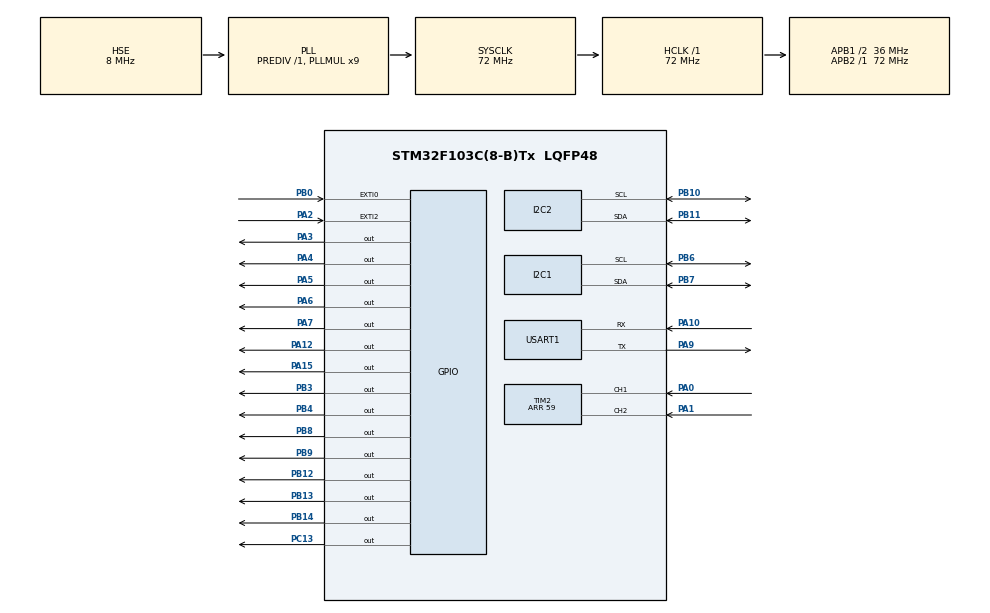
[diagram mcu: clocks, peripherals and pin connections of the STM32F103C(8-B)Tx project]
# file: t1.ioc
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Mcu.Family=STM32F1
PA2.GPIO_PuPd=GPIO_PULLDOWN
PB10.Mode=I2C
PB11.Signal=I2C2_SDA
PB13.Signal=GPIO_Output
RCC.SYSCLKSource=RCC_SYSCLKSOURCE_PLLCLK
ProjectManager.StackSize=0x400
PD1-OSC_OUT.Signal=RCC_OSC_OUT
PA12.Signal=GPIO_Output
TIM1.Prescaler=72-1
RCC.HCLKFreq_Value=72000000
RCC.APB2TimFreq_Value=72000000
PB6.Signal=I2C1_SCL
PB6.Mode=I2C
RCC.AHBFreq_Value=72000000
RCC.PLLMUL=RCC_PLL_MUL9
PA14.Mode=Serial_Wire
NVIC.TIM2_IRQn=true\:0\:0\:false\:false\:true\:true\:true
PB7.Signal=I2C1_SDA
VP_TIM1_VS_ClockSourceINT.Mode=Internal
Mcu.Package=LQFP48
PB9.Signal=GPIO_Output
PA6.Signal=GPIO_Output
PA10.Signal=USART1_RX
PA15.Signal=GPIO_Output
NVIC.EXTI2_IRQn=true\:0\:0\:false\:false\:true\:true\:true
RCC.APB1TimFreq_Value=72000000
TIM1.Period=0xffff-1
PB4.Signal=GPIO_Output
PA3.Signal=GPIO_Output
RCC.PLLSourceVirtual=RCC_PLLSOURCE_HSE
PD1-OSC_OUT.Mode=HSE-External-Oscillator
TIM2.CounterMode=TIM_COUNTERMODE_CENTERALIGNED1
PA10.Mode=Asynchronous
TIM2.IC1Filter=15
PC13-TAMPER-RTC.Signal=GPIO_Output
PD0-OSC_IN.Signal=RCC_OSC_IN
RCC.APB1CLKDivider=RCC_HCLK_DIV2
PA0-WKUP.Signal=S_TIM2_CH1_ETR
PA13.Signal=SYS_JTMS-SWDIO
SH.S_TIM2_CH2.0=TIM2_CH2,Encoder_Interface
PA9.Mode=Asynchronous
PB11.Mode=I2C
ProjectManager.TargetToolchain=Makefile
PA9.Signal=USART1_TX
RCC.USBFreq_Value=72000000
PA1.Signal=S_TIM2_CH2
PD0-OSC_IN.Mode=HSE-External-Oscillator
PB10.Signal=I2C2_SCL
PB14.Signal=GPIO_Output
PA5.Signal=GPIO_Output
board=custom
RCC.APB2Freq_Value=72000000
TIM2.Period=59
PA13.Mode=Serial_Wire
Mcu.Name=STM32F103C(8-B)Tx
PA2.Signal=GPXTI2
PB3.Signal=GPIO_Output
NVIC.EXTI0_IRQn=true\:0\:0\:false\:false\:true\:true\:true
PA4.Signal=GPIO_Output
RCC.SYSCLKFreq_VALUE=72000000
USART1.VirtualMode=VM_ASYNC
PB7.Mode=I2C
SH.S_TIM2_CH1_ETR.0=TIM2_CH1,Encoder_Interface
PA14.Signal=SYS_JTCK-SWCLK
ProjectManager.HeapSize=0x200
NVIC.PriorityGroup=NVIC_PRIORITYGROUP_4
PB8.Signal=GPIO_Output
RCC.APB1Freq_Value=36000000
PB0.Signal=GPXTI0
PB12.Signal=GPIO_Output
PB0.GPIO_PuPd=GPIO_PULLDOWN
PA7.Signal=GPIO_Output

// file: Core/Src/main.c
/* USER CODE BEGIN Header */
/**
  ******************************************************************************
  * @file           : main.c
  * @brief          : Main program body
  ******************************************************************************
  * @attention
  *
  * <h2><center>&copy; Copyright (c) 2020 STMicroelectronics.
  * All rights reserved.</center></h2>
  *
  * This software component is licensed by ST under BSD 3-Clause license,
  * the "License"; You may not use this file except in compliance with the
  * License. You may obtain a copy of the License at:
  *                        opensource.org/licenses/BSD-3-Clause
  *
  ******************************************************************************
  */
/* USER CODE END Header */
#include "main.h"

/* USER CODE BEGIN Includes */
#include <string.h>
#include <stdio.h>
#include <LCD1602.h>
#include <ds3231.h>
#include <utils.h>
#include <menu.h>
#include <eeprom.h>
/* USER CODE END Includes */

I2C_HandleTypeDef hi2c1;
I2C_HandleTypeDef hi2c2;

TIM_HandleTypeDef htim1;
TIM_HandleTypeDef htim2;

UART_HandleTypeDef huart1;

void SystemClock_Config(void);
static void MX_GPIO_Init(void);
static void MX_TIM2_Init(void);
static void MX_USART1_UART_Init(void);
static void MX_I2C2_Init(void);
static void MX_TIM1_Init(void);
static void MX_I2C1_Init(void);

/* USER CODE BEGIN 0 */

_RTC rtc_new = { .Year = 12, .Month = 12, .Date = 12, .DaysOfWeek = SUNDAY, .Hour = 12, .Min = 12, .Sec = 12 };
_RTC rtc_old = { .Year = 21, .Month = 21, .Date = 21, .DaysOfWeek = WEDNESDAY, .Hour = 21, .Min = 21, .Sec = 21 };
_RTC rtc_check = { .Year = 12, .Month = 12, .Date = 12, .DaysOfWeek = SUNDAY, .Hour = 12, .Min = 12, .Sec = 12 };

typedef enum {
    MENU_MAIN_LEN = 4,
    MAIN_DATE_LEN = 6,
    MENU_ALARM_LEN=4,
} dlina_menu;

int flag_irq0;
int time_irq0;
int flag_irq2;
int time_irq2;

struct eventRozetka array_event_rozetka[8];

//--------------------------------

uint32_t count;
uint8_t direct;
int flgu = 0;
char trans_str[1000];
//--------------------------------

#define GPIO_ROZETKA_1 G

void  GPIO_WritePin_Rozetka(int d,int c){
    if(d==0){
        if(c==1){
            HAL_GPIO_WritePin(GPIOA, GPIO_PIN_3, GPIO_PIN_SET);

        } else{
            HAL_GPIO_WritePin(GPIOA, GPIO_PIN_3, GPIO_PIN_RESET);
        }

    }
    else if(d==1){
        if(c==1){
            HAL_GPIO_WritePin(GPIOA, GPIO_PIN_4, GPIO_PIN_SET);
        } else{
            HAL_GPIO_WritePin(GPIOA, GPIO_PIN_4, GPIO_PIN_RESET);
        }
    }
    else if(d==2){
        if(c==1){
            HAL_GPIO_WritePin(GPIOA, GPIO_PIN_5, GPIO_PIN_SET);
        } else{
            HAL_GPIO_WritePin(GPIOA, GPIO_PIN_5, GPIO_PIN_RESET);
        }
    }
    else if(d==3){
        if(c==1){
            HAL_GPIO_WritePin(GPIOA, GPIO_PIN_6, GPIO_PIN_SET);
        } else{
            HAL_GPIO_WritePin(GPIOA, GPIO_PIN_6, GPIO_PIN_RESET);
        }
    }
    else if(d==4){
        if(c==1){
            HAL_GPIO_WritePin(GPIOA, GPIO_PIN_7, GPIO_PIN_SET);
        } else{
            HAL_GPIO_WritePin(GPIOA, GPIO_PIN_7, GPIO_PIN_RESET);
        }
    }
    else if(d==5){
        if(c==1){
            HAL_GPIO_WritePin(GPIOB, GPIO_PIN_12, GPIO_PIN_SET);
        } else{
            HAL_GPIO_WritePin(GPIOB, GPIO_PIN_12, GPIO_PIN_RESET);
        }
    }
    else if(d==6){
        if(c==1){
            HAL_GPIO_WritePin(GPIOB, GPIO_PIN_13, GPIO_PIN_SET);
        } else{
            HAL_GPIO_WritePin(GPIOB, GPIO_PIN_13, GPIO_PIN_RESET);
        }
    }
    else if(d==7){
        if(c==1){
            HAL_GPIO_WritePin(GPIOB, GPIO_PIN_14, GPIO_PIN_SET);
        } else{
            HAL_GPIO_WritePin(GPIOB, GPIO_PIN_14, GPIO_PIN_RESET);
        }
    }

};
void check_timer_handler(_RTC *rtc_new){
    int i;
    for (i = 0; i < 8; i++) {
        if (array_event_rozetka[i].type==1){
            int min_start=get_all_minut(array_event_rozetka[i].hour1,array_event_rozetka[i].min1);
            int min_stop=get_all_minut(array_event_rozetka[i].hour2,array_event_rozetka[i].min2);
            int min_check=get_all_minut(rtc_new->Hour, rtc_new->Min);
//            snprintf(trans_str, 100, "min_start %d - min_stop %d  - min_check %d ", min_start,min_stop,min_check);
//            send_string_uart(trans_str,flgu);
            if(check_time(min_start, min_stop,min_check)==1){
                GPIO_WritePin_Rozetka(i,1);
                snprintf(trans_str, 100, "%d - enable_rozetka", i);
            }
            else{
                GPIO_WritePin_Rozetka(i,0);
                snprintf(trans_str, 100, "%d - disable_rozetka", i);
            }
        }
        else{
            GPIO_WritePin_Rozetka(i,0);
            snprintf(trans_str, 100, "%d - disable_rozetka", i);
        }
//        send_string_uart(trans_str,flgu);
    }
}

/* USER CODE END 0 */

int main(void)
{

  /* MCU Configuration--------------------------------------------------------*/

  /* Reset of all peripherals, Initializes the Flash interface and the Systick. */
  HAL_Init();

  /* Configure the system clock */
  SystemClock_Config();

  /* Initialize all configured peripherals */
  MX_GPIO_Init();
  MX_TIM2_Init();
  MX_USART1_UART_Init();
  MX_I2C2_Init();
  MX_TIM1_Init();
  MX_I2C1_Init();
  /* USER CODE BEGIN 2 */
    HAL_TIM_Base_Start(&htim1);
    HAL_TIM_Encoder_Start_IT(&htim2, TIM_CHANNEL_1);
    lcd_init();
    HAL_Delay(2);
    DS3231_Init(&hi2c2);
    change_main = 0;
    reset_state(1, 0, 0, 0, 2);

    //DS3231_SetTime(&rtc);
  /* USER CODE END 2 */

  /* Infinite loop */
  /* USER CODE BEGIN WHILE */

//    char wmsg[] = "We love STM32!";
//    char rmsg[20];
//    HAL_I2C_Mem_Write(&hi2c1, 0xA0, 0x40, I2C_MEMADD_SIZE_16BIT, (uint8_t *) wmsg, strlen(wmsg), HAL_MAX_DELAY);
//    while (HAL_I2C_IsDeviceReady(&hi2c1, 0xA0, 1, HAL_MAX_DELAY) != HAL_OK);
//    HAL_I2C_Mem_Read(&hi2c1, 0xA0, 0x40, I2C_MEMADD_SIZE_16BIT, (uint8_t *) rmsg, strlen(wmsg), HAL_MAX_DELAY);
//    while (HAL_I2C_IsDeviceReady(&hi2c1, 0xA0, 1, HAL_MAX_DELAY) != HAL_OK);
//    snprintf(trans_str, 100, "| %s |", rmsg);
//    HAL_UART_Transmit(&huart1, (uint8_t*)trans_str, strlen(trans_str), 1000);

//    uint8_t buff_rozetka[10];
//    get_alarm(buff_rozetka, ROZETKA_1);
//    int i;
//    for (i = 0; i < 8; i++) {
//        snprintf(trans_str, 100, "- %d %d,%d",i, array_event_rozetka[i].hour1,array_event_rozetka[i].hour2);
//        send_uart(trans_str);
//
//    }
//    send_string_uart("==========", flgu);
//    buff_rozetka[0]=buff_rozetka[0] > 24 ? 0 : buff_rozetka[1];
//    for (i = 0; i < 1; i++) {
//        snprintf(trans_str, 100, "%d. %d = %c ", i,buff_rozetka[i],buff_rozetka[i]);
//        send_uart(trans_str);
//
//    }

    while (1) {
        if (state_display == 0) {
            // обновляем время
            DS3231_GetTime(&rtc_new);
            check_rtc(&rtc_new, &rtc_old);
        } else if (state_display == 1) {
            // устанавливаем время и переодим в стартовый state 0
            DS3231_GetTime(&rtc_old);
            DS3231_GetTime(&rtc_new);
            lcd_clear();
            print_rtc(rtc_new);
            state_display = 0;
            get_all_alarm(array_event_rozetka);
        } else if (state_display == 2) {
            // входим в меню где есть вертикальная прокрутка
            print_vertical_menu(type_menu, state_menu, cursor_menu, &change_main);
        } else if (state_display == 3) {
            // входим в меню
            print_horizontal_menu(type_menu, state_menu, cursor_menu, &change_main, rtc_check);
        } else {
            //ничего не делаем
            __NOP();
        };

        // snprintf(trans_str, 63, "-Encoder %lu %s\n", count, TIM3->CR1 & TIM_CR1_DIR ? "DOWN" : "UP");
        // HAL_UART_Transmit(&huart1, (uint8_t*)trans_str, strlen(trans_str), 1000);

        // send_uart(trans_str);
        // lcd_put_cur(0, 0);
//          HAL_GPIO_TogglePin(GPIOC, GPIO_PIN_13);
        // char answer[]="1111";
        // send_uart(answer,sizeof(answer));

        if (flag_irq2 && (HAL_GetTick() - time_irq2) > 200) {
            __HAL_GPIO_EXTI_CLEAR_IT(EXTI_PR_PR2);  // очищаем бит EXTI_PR
            NVIC_ClearPendingIRQ(EXTI2_IRQn); // очищаем бит NVIC_ICPRx
            HAL_NVIC_EnableIRQ(EXTI2_IRQn);   // включаем внешнее прерывание
            flag_irq2 = 0;
        }
        if (flag_irq0 && (HAL_GetTick() - time_irq0) > 200) {
            __HAL_GPIO_EXTI_CLEAR_IT(EXTI_PR_PR0);  // очищаем бит EXTI_PR
            NVIC_ClearPendingIRQ(EXTI0_IRQn); // очищаем бит NVIC_ICPRx
            HAL_NVIC_EnableIRQ(EXTI0_IRQn);   // включаем внешнее прерывание
            flag_irq0 = 0;
        }
        check_timer_handler(&rtc_new);
        send_string_uart("---------------\n", flgu);
        HAL_Delay(100);
    /* USER CODE END WHILE */

    }
}

void SystemClock_Config(void)
{
  RCC_OscInitTypeDef RCC_OscInitStruct = {0};
  RCC_ClkInitTypeDef RCC_ClkInitStruct = {0};

  /** Initializes the RCC Oscillators according to the specified parameters
  * in the RCC_OscInitTypeDef structure.
  */
  RCC_OscInitStruct.OscillatorType = RCC_OSCILLATORTYPE_HSE;
  RCC_OscInitStruct.HSEState = RCC_HSE_ON;
  RCC_OscInitStruct.HSEPredivValue = RCC_HSE_PREDIV_DIV1;
  RCC_OscInitStruct.HSIState = RCC_HSI_ON;
  RCC_OscInitStruct.PLL.PLLState = RCC_PLL_ON;
  RCC_OscInitStruct.PLL.PLLSource = RCC_PLLSOURCE_HSE;
  RCC_OscInitStruct.PLL.PLLMUL = RCC_PLL_MUL9;
  if (HAL_RCC_OscConfig(&RCC_OscInitStruct) != HAL_OK)
  {
    Error_Handler();
  }
  /** Initializes the CPU, AHB and APB buses clocks
  */
  RCC_ClkInitStruct.ClockType = RCC_CLOCKTYPE_HCLK|RCC_CLOCKTYPE_SYSCLK
                              |RCC_CLOCKTYPE_PCLK1|RCC_CLOCKTYPE_PCLK2;
  RCC_ClkInitStruct.SYSCLKSource = RCC_SYSCLKSOURCE_PLLCLK;
  RCC_ClkInitStruct.AHBCLKDivider = RCC_SYSCLK_DIV1;
  RCC_ClkInitStruct.APB1CLKDivider = RCC_HCLK_DIV2;
  RCC_ClkInitStruct.APB2CLKDivider = RCC_HCLK_DIV1;

  if (HAL_RCC_ClockConfig(&RCC_ClkInitStruct, FLASH_LATENCY_2) != HAL_OK)
  {
    Error_Handler();
  }
}

static void MX_I2C1_Init(void)
{

  hi2c1.Instance = I2C1;
  hi2c1.Init.ClockSpeed = 100000;
  hi2c1.Init.DutyCycle = I2C_DUTYCYCLE_2;
  hi2c1.Init.OwnAddress1 = 0;
  hi2c1.Init.AddressingMode = I2C_ADDRESSINGMODE_7BIT;
  hi2c1.Init.DualAddressMode = I2C_DUALADDRESS_DISABLE;
  hi2c1.Init.OwnAddress2 = 0;
  hi2c1.Init.GeneralCallMode = I2C_GENERALCALL_DISABLE;
  hi2c1.Init.NoStretchMode = I2C_NOSTRETCH_DISABLE;
  if (HAL_I2C_Init(&hi2c1) != HAL_OK)
  {
    Error_Handler();
  }

}

static void MX_I2C2_Init(void)
{

  hi2c2.Instance = I2C2;
  hi2c2.Init.ClockSpeed = 100000;
  hi2c2.Init.DutyCycle = I2C_DUTYCYCLE_2;
  hi2c2.Init.OwnAddress1 = 0;
  hi2c2.Init.AddressingMode = I2C_ADDRESSINGMODE_7BIT;
  hi2c2.Init.DualAddressMode = I2C_DUALADDRESS_DISABLE;
  hi2c2.Init.OwnAddress2 = 0;
  hi2c2.Init.GeneralCallMode = I2C_GENERALCALL_DISABLE;
  hi2c2.Init.NoStretchMode = I2C_NOSTRETCH_DISABLE;
  if (HAL_I2C_Init(&hi2c2) != HAL_OK)
  {
    Error_Handler();
  }

}

static void MX_TIM1_Init(void)
{

  TIM_ClockConfigTypeDef sClockSourceConfig = {0};
  TIM_MasterConfigTypeDef sMasterConfig = {0};

  htim1.Instance = TIM1;
  htim1.Init.Prescaler = 72-1;
  htim1.Init.CounterMode = TIM_COUNTERMODE_UP;
  htim1.Init.Period = 0xffff-1;
  htim1.Init.ClockDivision = TIM_CLOCKDIVISION_DIV1;
  htim1.Init.RepetitionCounter = 0;
  htim1.Init.AutoReloadPreload = TIM_AUTORELOAD_PRELOAD_DISABLE;
  if (HAL_TIM_Base_Init(&htim1) != HAL_OK)
  {
    Error_Handler();
  }
  sClockSourceConfig.ClockSource = TIM_CLOCKSOURCE_INTERNAL;
  if (HAL_TIM_ConfigClockSource(&htim1, &sClockSourceConfig) != HAL_OK)
  {
    Error_Handler();
  }
  sMasterConfig.MasterOutputTrigger = TIM_TRGO_RESET;
  sMasterConfig.MasterSlaveMode = TIM_MASTERSLAVEMODE_DISABLE;
  if (HAL_TIMEx_MasterConfigSynchronization(&htim1, &sMasterConfig) != HAL_OK)
  {
    Error_Handler();
  }

}

static void MX_TIM2_Init(void)
{

  TIM_Encoder_InitTypeDef sConfig = {0};
  TIM_MasterConfigTypeDef sMasterConfig = {0};

  htim2.Instance = TIM2;
  htim2.Init.Prescaler = 0;
  htim2.Init.CounterMode = TIM_COUNTERMODE_CENTERALIGNED1;
  htim2.Init.Period = 59;
  htim2.Init.ClockDivision = TIM_CLOCKDIVISION_DIV1;
  htim2.Init.AutoReloadPreload = TIM_AUTORELOAD_PRELOAD_DISABLE;
  sConfig.EncoderMode = TIM_ENCODERMODE_TI1;
  sConfig.IC1Polarity = TIM_ICPOLARITY_RISING;
  sConfig.IC1Selection = TIM_ICSELECTION_DIRECTTI;
  sConfig.IC1Prescaler = TIM_ICPSC_DIV1;
  sConfig.IC1Filter = 15;
  sConfig.IC2Polarity = TIM_ICPOLARITY_RISING;
  sConfig.IC2Selection = TIM_ICSELECTION_DIRECTTI;
  sConfig.IC2Prescaler = TIM_ICPSC_DIV1;
  sConfig.IC2Filter = 0;
  if (HAL_TIM_Encoder_Init(&htim2, &sConfig) != HAL_OK)
  {
    Error_Handler();
  }
  sMasterConfig.MasterOutputTrigger = TIM_TRGO_RESET;
  sMasterConfig.MasterSlaveMode = TIM_MASTERSLAVEMODE_DISABLE;
  if (HAL_TIMEx_MasterConfigSynchronization(&htim2, &sMasterConfig) != HAL_OK)
  {
    Error_Handler();
  }

}

static void MX_USART1_UART_Init(void)
{

  huart1.Instance = USART1;
  huart1.Init.BaudRate = 115200;
  huart1.Init.WordLength = UART_WORDLENGTH_8B;
  huart1.Init.StopBits = UART_STOPBITS_1;
  huart1.Init.Parity = UART_PARITY_NONE;
  huart1.Init.Mode = UART_MODE_TX_RX;
  huart1.Init.HwFlowCtl = UART_HWCONTROL_NONE;
  huart1.Init.OverSampling = UART_OVERSAMPLING_16;
  if (HAL_UART_Init(&huart1) != HAL_OK)
  {
    Error_Handler();
  }

}

static void MX_GPIO_Init(void)
{
  GPIO_InitTypeDef GPIO_InitStruct = {0};

  /* GPIO Ports Clock Enable */
  __HAL_RCC_GPIOC_CLK_ENABLE();
  __HAL_RCC_GPIOD_CLK_ENABLE();
  __HAL_RCC_GPIOA_CLK_ENABLE();
  __HAL_RCC_GPIOB_CLK_ENABLE();

  /*Configure GPIO pin Output Level */
  HAL_GPIO_WritePin(GPIOC, GPIO_PIN_13, GPIO_PIN_RESET);

  /*Configure GPIO pin Output Level */
  HAL_GPIO_WritePin(GPIOA, GPIO_PIN_3|GPIO_PIN_4|GPIO_PIN_5|GPIO_PIN_6
                          |GPIO_PIN_7|GPIO_PIN_12|GPIO_PIN_15, GPIO_PIN_RESET);

  /*Configure GPIO pin Output Level */
  HAL_GPIO_WritePin(GPIOB, GPIO_PIN_12|GPIO_PIN_13|GPIO_PIN_14|GPIO_PIN_3
                          |GPIO_PIN_4|GPIO_PIN_8|GPIO_PIN_9, GPIO_PIN_RESET);

  /*Configure GPIO pin : PC13 */
  GPIO_InitStruct.Pin = GPIO_PIN_13;
  GPIO_InitStruct.Mode = GPIO_MODE_OUTPUT_PP;
  GPIO_InitStruct.Pull = GPIO_NOPULL;
  GPIO_InitStruct.Speed = GPIO_SPEED_FREQ_LOW;
  HAL_GPIO_Init(GPIOC, &GPIO_InitStruct);

  /*Configure GPIO pin : PA2 */
  GPIO_InitStruct.Pin = GPIO_PIN_2;
  GPIO_InitStruct.Mode = GPIO_MODE_IT_RISING;
  GPIO_InitStruct.Pull = GPIO_PULLDOWN;
  HAL_GPIO_Init(GPIOA, &GPIO_InitStruct);

  /*Configure GPIO pins : PA3 PA4 PA5 PA6
                           PA7 PA12 PA15 */
  GPIO_InitStruct.Pin = GPIO_PIN_3|GPIO_PIN_4|GPIO_PIN_5|GPIO_PIN_6
                          |GPIO_PIN_7|GPIO_PIN_12|GPIO_PIN_15;
  GPIO_InitStruct.Mode = GPIO_MODE_OUTPUT_PP;
  GPIO_InitStruct.Pull = GPIO_NOPULL;
  GPIO_InitStruct.Speed = GPIO_SPEED_FREQ_LOW;
  HAL_GPIO_Init(GPIOA, &GPIO_InitStruct);

  /*Configure GPIO pin : PB0 */
  GPIO_InitStruct.Pin = GPIO_PIN_0;
  GPIO_InitStruct.Mode = GPIO_MODE_IT_RISING;
  GPIO_InitStruct.Pull = GPIO_PULLDOWN;
  HAL_GPIO_Init(GPIOB, &GPIO_InitStruct);

  /*Configure GPIO pins : PB12 PB13 PB14 PB3
                           PB4 PB8 PB9 */
  GPIO_InitStruct.Pin = GPIO_PIN_12|GPIO_PIN_13|GPIO_PIN_14|GPIO_PIN_3
                          |GPIO_PIN_4|GPIO_PIN_8|GPIO_PIN_9;
  GPIO_InitStruct.Mode = GPIO_MODE_OUTPUT_PP;
  GPIO_InitStruct.Pull = GPIO_NOPULL;
  GPIO_InitStruct.Speed = GPIO_SPEED_FREQ_LOW;
  HAL_GPIO_Init(GPIOB, &GPIO_InitStruct);

  /* EXTI interrupt init*/
  HAL_NVIC_SetPriority(EXTI0_IRQn, 0, 0);
  HAL_NVIC_EnableIRQ(EXTI0_IRQn);

  HAL_NVIC_SetPriority(EXTI2_IRQn, 0, 0);
  HAL_NVIC_EnableIRQ(EXTI2_IRQn);

}

/* USER CODE BEGIN 4 */
void HAL_GPIO_EXTI_Callback(uint16_t GPIO_Pin) {

    if (GPIO_Pin == GPIO_PIN_2) {
        HAL_NVIC_DisableIRQ(EXTI2_IRQn);

        send_string_uart("GPIO_PIN_2 ", flgu);
        if (state_display == 0) {
            send_string_uart("entry MAIN", flgu);
            reset_state(2, 1, 0, 0, MENU_MAIN_LEN);
        }

        else if (state_display == 2 && cursor_menu == 0 && state_menu == 0 && type_menu == 1) {
            send_string_uart("entry DATE", flgu);
            DS3231_GetTime(&rtc_check);
            reset_state(3, 1, 0, 0, MAIN_DATE_LEN);
            lcd_cursor_enable();
        }
        else if (state_display == 2 && cursor_menu == 1 && state_menu==0 && type_menu == 1) {
            send_string_uart("entry ROZETKA 1", flgu);
            set_input_menu_rozetka(ADDR_ROZETKA_1);
            reset_state(3, 2, 0, 0, MENU_ALARM_LEN);
            lcd_cursor_enable();
        }
        else if (state_display == 2 && cursor_menu == 0 && state_menu==1 && type_menu == 1) {
            send_string_uart("entry ROZETKA 2", flgu);
            set_input_menu_rozetka(ADDR_ROZETKA_2);
            reset_state(3, 2, 0, 0, MENU_ALARM_LEN);
            lcd_cursor_enable();
        }
        else if (state_display == 2 && cursor_menu == 1 && state_menu==1 && type_menu == 1) {
            send_string_uart("entry ROZETKA 3", flgu);
            set_input_menu_rozetka(ADDR_ROZETKA_3);
            reset_state(3, 2, 0, 0, MENU_ALARM_LEN);
            lcd_cursor_enable();
        }
        else if (state_display == 2 && cursor_menu == 0 && state_menu==2 && type_menu == 1) {
            send_string_uart("entry ROZETKA 4", flgu);
            set_input_menu_rozetka(ADDR_ROZETKA_4);
            reset_state(3, 2, 0, 0, MENU_ALARM_LEN);
            lcd_cursor_enable();
        }
        else if (state_display == 2 && cursor_menu == 1 && state_menu==2 && type_menu == 1) {
            send_string_uart("entry ROZETKA 5", flgu);
            set_input_menu_rozetka(ADDR_ROZETKA_5);
            reset_state(3, 2, 0, 0, MENU_ALARM_LEN);
            lcd_cursor_enable();
        }
        else if (state_display == 2 && cursor_menu == 0 && state_menu==3 && type_menu == 1) {
            send_string_uart("entry ROZETKA 6", flgu);
            set_input_menu_rozetka(ADDR_ROZETKA_6);
            reset_state(3, 2, 0, 0, MENU_ALARM_LEN);
            lcd_cursor_enable();
        }
        else if (state_display == 2 && cursor_menu == 1 && state_menu==3 && type_menu == 1) {
            send_string_uart("entry ROZETKA 7", flgu);
            set_input_menu_rozetka(ADDR_ROZETKA_7);
            reset_state(3, 2, 0, 0, MENU_ALARM_LEN);
            lcd_cursor_enable();
        }
        else if (state_display == 2 && cursor_menu == 0 && state_menu==4 && type_menu == 1) {
            send_string_uart("entry ROZETKA 8", flgu);
            set_input_menu_rozetka(ADDR_ROZETKA_8);
            reset_state(3, 2, 0, 0, MENU_ALARM_LEN);
            lcd_cursor_enable();
        }
        else if (state_display == 2 && cursor_menu == 1 && state_menu==4 && type_menu == 1) {
            send_string_uart("entry CLEAR ALL", flgu);
            disable_all_alarm();
            get_all_alarm(array_event_rozetka);
            reset_state(1, 0, 0, 0, 0);
            send_string_uart("Desktop", flgu);
        }
        else if (state_display == 3) {
            if (state_menu == 1) {
                state_menu = 0;
                lcd_cursor_blink_disable();
                send_string_uart("lcd_cursor_blink_enable", flgu);
            } else {
                state_menu = 1;
                lcd_cursor_blink_enable();
                send_string_uart("lcd_cursor_blink_disable", flgu);
            }

        } else {
            __NOP();
        }

        change_main = 1;
        flag_irq2 = 1;
        time_irq2 = HAL_GetTick();

    } else if (GPIO_Pin == GPIO_PIN_0) {
        HAL_NVIC_DisableIRQ(EXTI0_IRQn);
        send_string_uart("GPIO_PIN_0 ", flgu);
        if (state_display == 2) {
            if (type_menu == 1) {
                send_string_uart("Desktop", flgu);

                reset_state(1, 0, 0, 0, 0);
            } else if (type_menu == 2 || type_menu == 3) {
                send_string_uart("exit week menu", flgu);
                reset_state(2, 1, 0, 0, MENU_MAIN_LEN);
            }
        } else if (state_display == 3) {
            if (type_menu == 1) {
                // выход в  меню 1------------------------------
                send_string_uart("exit DATE", flgu);
                reset_state(2, 1, 0, 0, MENU_MAIN_LEN);
                lcd_cursor_disable();
            }
            else if (type_menu == 2) {
                send_string_uart("exit ROZETKA", flgu);
                set_global_event_rozetka_in_eeprom();
                get_all_alarm(array_event_rozetka);
                reset_state(2, 1, 0, 0, MENU_MAIN_LEN);
                lcd_cursor_disable();
            }
        } else {
            __NOP();
        }
        change_main = 1;
        flag_irq0 = 1;
        time_irq0 = HAL_GetTick();

    } else {
        __NOP(); //ничего не делаем
    }
}

void HAL_TIM_IC_CaptureCallback(TIM_HandleTypeDef *htim) {
    if (htim == &htim2) {
        // count = __HAL_TIM_GET_COUNTER(&htim2);
        direct = __HAL_TIM_IS_TIM_COUNTING_DOWN(&htim2);

        //------------------------------------------------------------------------
        if (state_display == 2) {
            encoder_rol_menu(direct, &cursor_menu, length_menu, &state_menu);
        } else if (state_display == 3) {
            if (type_menu == 1) {
                if (state_menu == 0) {
                    encoder_rol_menu_horizontal(direct, &cursor_menu, length_menu);
                } else {
                    add_date_rtc_check_for_cursor(direct, cursor_menu, &rtc_check);
                }
            }
            if (type_menu == 2) {
                if (state_menu == 0) {
                    encoder_rol_menu_horizontal(direct, &cursor_menu, length_menu);
                } else {
                    add_date_rozetka_check_for_cursor(direct, cursor_menu);
                }
            }

        } else {
            __NOP();
        }
        change_main = 1;

        //------------------------------------------------------------------------

        snprintf(
                trans_str,
                100,
                "count-%lu direct-%u state_display-%u type_menu-%u state_menu-%u cursor_menu-%u length_menu-%u\n",
                count,
                direct,
                state_display,
                type_menu,
                state_menu,
                cursor_menu,
                length_menu
        );
        send_string_uart(trans_str,flgu);

    }
}

/* USER CODE END 4 */

void Error_Handler(void)
{
}

/************************ (C) COPYRIGHT STMicroelectronics *****END OF FILE****/
